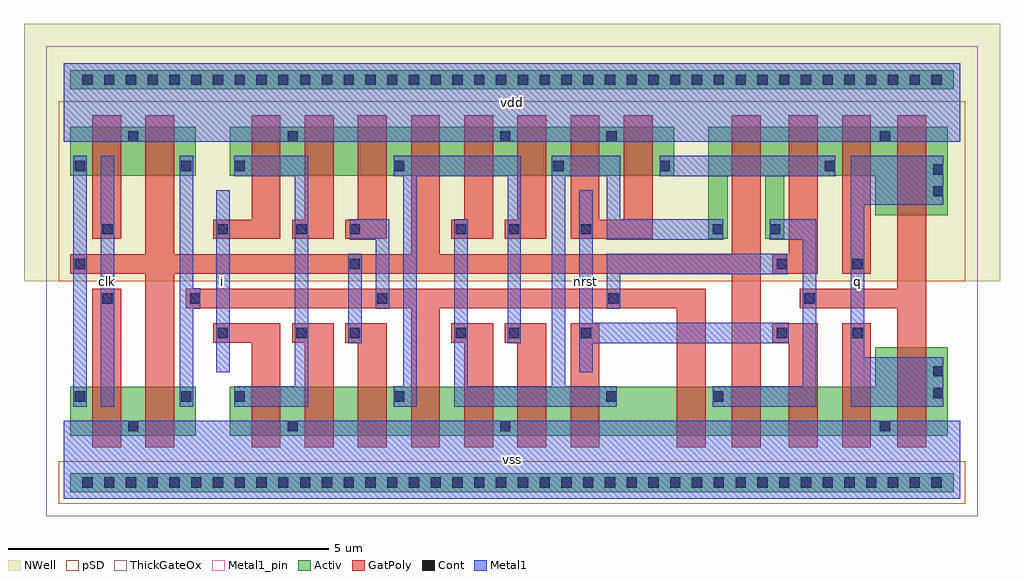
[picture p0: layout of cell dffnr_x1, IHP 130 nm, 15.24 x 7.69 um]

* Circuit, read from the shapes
.subckt dffnr_x1 clk i nrst q vdd vss
XM1 vss clk n1 vss sg13_hv_nmos w=0.76u l=0.45u
XM2 n2 n1 vss vss sg13_hv_nmos w=0.76u l=0.45u
XM3 vss i n3 vss sg13_hv_nmos w=0.76u l=0.45u
XM4 n4 n3 vss vss sg13_hv_nmos w=0.76u l=0.45u
XM5 n5 n1 n4 vss sg13_hv_nmos w=0.76u l=0.45u
XM6 n6 n2 n5 vss sg13_hv_nmos w=0.76u l=0.45u
XM7 vss n7 n6 vss sg13_hv_nmos w=0.76u l=0.45u
XM8 n8 n5 vss vss sg13_hv_nmos w=0.76u l=0.45u
XM9 n7 nrst n8 vss sg13_hv_nmos w=0.76u l=0.45u
XM10 n9 n2 n7 vss sg13_hv_nmos w=0.76u l=0.45u
XM11 n10 n1 n9 vss sg13_hv_nmos w=0.76u l=0.45u
XM12 n11 nrst n10 vss sg13_hv_nmos w=0.76u l=0.45u
XM13 vss q n11 vss sg13_hv_nmos w=0.76u l=0.45u
XM14 q n9 vss vss sg13_hv_nmos w=1.38u l=0.45u
XM15 vdd clk n1 vdd sg13_hv_pmos w=0.76u l=0.45u
XM16 n2 n1 vdd vdd sg13_hv_pmos w=0.76u l=0.45u
XM17 vdd i n3 vdd sg13_hv_pmos w=0.76u l=0.45u
XM18 n12 n3 vdd vdd sg13_hv_pmos w=0.76u l=0.45u
XM19 n5 n2 n12 vdd sg13_hv_pmos w=0.76u l=0.45u
XM20 n13 n1 n5 vdd sg13_hv_pmos w=0.76u l=0.45u
XM21 vdd n7 n13 vdd sg13_hv_pmos w=0.76u l=0.45u
XM22 n7 n5 vdd vdd sg13_hv_pmos w=0.76u l=0.45u
XM23 vdd nrst n7 vdd sg13_hv_pmos w=0.76u l=0.45u
XM24 n14 nrst vdd vdd sg13_hv_pmos w=0.76u l=0.45u
XM25 n9 n1 n7 vdd sg13_hv_pmos w=0.76u l=0.45u
XM26 n14 n2 n9 vdd sg13_hv_pmos w=0.76u l=0.45u
XM27 vdd q n14 vdd sg13_hv_pmos w=0.76u l=0.45u
XM28 q n9 vdd vdd sg13_hv_pmos w=1.38u l=0.45u
.ends

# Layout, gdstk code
import gdstk
lib = gdstk.Library(unit=1e-6, precision=1e-09)
def R(c, l, rs):  # rectangles x0, y0, x1, y1
    for r in rs: c.add(gdstk.rectangle(r[:2], r[2:], *l))
def A(c, l, x, y, w, h, nx, ny, dx, dy):  # array of equal rectangles
    R(c, l, [(x+i*dx, y+j*dy, x+i*dx+w, y+j*dy+h) for i in range(nx) for j in range(ny)])
def P(c, l, *ps):  # polygons
    for p in ps: c.add(gdstk.Polygon(p, *l))
Activ = (1, 0)
GatPoly = (5, 0)
Cont = (6, 0)
Metal1 = (8, 0)
Metal1_pin = (8, 2)
pSD = (14, 0)
NWell = (31, 0)
ThickGateOx = (44, 0)

dffnr_x1 = lib.new_cell('dffnr_x1')
R(dffnr_x1, Activ, [(0.105,0.105,13.895,0.405), (0.105,0.99,2.065,1.75), (0.105,5.05,2.065,5.81), (2.595,5.05,9.535,5.81), (0.105,6.395,13.895,6.695)])
P(dffnr_x1, Activ, [(10.065,4.06),(10.065,5.81),(13.805,5.81),(13.805,4.43),(12.675,4.43),(12.675,5.05),(11.255,5.05),(11.255,4.06),(10.955,4.06),(10.955,5.05),(10.365,5.05),(10.365,4.06)],
  [(2.595,0.99),(2.595,1.75),(12.675,1.75),(12.675,2.37),(13.805,2.37),(13.805,0.99)])
R(dffnr_x1, GatPoly, [(0.445,0.81,0.895,3.28), (7.915,0.81,8.365,2.74), (12.155,0.81,12.605,2.74), (12.155,3.52,12.605,5.99), (0.445,4.06,0.895,5.99)])
P(dffnr_x1, GatPoly, [(1.275,0.81),(1.275,3.52),(0.105,3.52),(0.105,3.82),(1.275,3.82),(1.275,5.99),(1.725,5.99),(1.725,3.82),(5.425,3.82),(5.425,5.99),(5.875,5.99),(5.875,3.82),(10.435,3.82),(10.435,5.99),(10.885,5.99),(10.885,0.81),(10.435,0.81),(10.435,3.52),(1.725,3.52),(1.725,0.81)],
  [(4.595,0.81),(4.595,2.44),(4.395,2.44),(4.395,2.74),(5.045,2.74),(5.045,0.81)],
  [(5.425,0.81),(5.425,2.98),(1.905,2.98),(1.905,3.28),(10.025,3.28),(10.025,0.81),(9.575,0.81),(9.575,2.98),(5.875,2.98),(5.875,0.81)],
  [(11.065,3.52),(11.065,3.82),(11.325,3.82),(11.325,5.99),(11.775,5.99),(11.775,3.52)],
  [(4.395,4.06),(4.395,4.36),(4.595,4.36),(4.595,5.99),(5.045,5.99),(5.045,4.06)],
  [(3.565,4.06),(3.565,4.36),(3.765,4.36),(3.765,5.99),(4.215,5.99),(4.215,4.06)],
  [(3.765,0.81),(3.765,2.44),(3.565,2.44),(3.565,2.74),(4.215,2.74),(4.215,0.81)],
  [(2.335,4.06),(2.335,4.36),(2.935,4.36),(2.935,5.99),(3.385,5.99),(3.385,4.06)],
  [(2.935,0.81),(2.935,2.44),(2.335,2.44),(2.335,2.74),(3.385,2.74),(3.385,0.81)],
  [(6.885,4.06),(6.885,4.36),(7.085,4.36),(7.085,5.99),(7.535,5.99),(7.535,4.06)],
  [(7.085,0.81),(7.085,2.44),(6.885,2.44),(6.885,2.74),(7.535,2.74),(7.535,0.81)],
  [(6.255,0.81),(6.255,2.44),(6.055,2.44),(6.055,2.74),(6.705,2.74),(6.705,0.81)],
  [(6.055,4.06),(6.055,4.36),(6.255,4.36),(6.255,5.99),(6.705,5.99),(6.705,4.06)],
  [(11.325,0.81),(11.325,2.44),(11.065,2.44),(11.065,2.74),(11.775,2.74),(11.775,0.81)],
  [(7.915,4.06),(7.915,5.99),(8.365,5.99),(8.365,4.36),(8.745,4.36),(8.745,5.99),(9.195,5.99),(9.195,4.06)],
  [(13.015,0.81),(13.015,2.98),(11.495,2.98),(11.495,3.28),(13.015,3.28),(13.015,5.99),(13.465,5.99),(13.465,0.81)])
A(dffnr_x1, Cont, 0.29, 0.175, 0.16, 0.16, 40, 2, 0.34, 6.29)
A(dffnr_x1, Cont, 2.665, 5.12, 0.16, 0.16, 3, 1, 2.49, 0)
R(dffnr_x1, Cont, [(1.005,1.06,1.165,1.22), (3.495,1.06,3.655,1.22), (6.815,1.06,6.975,1.22), (12.745,1.06,12.905,1.22), (0.175,1.52,0.335,1.68), (1.835,1.52,1.995,1.68), (2.665,1.52,2.825,1.68), (5.155,1.52,5.315,1.68), (8.475,1.52,8.635,1.68), (10.135,1.52,10.295,1.68), (13.575,1.575,13.735,1.735), (13.575,1.915,13.735,2.075), (2.405,2.51,2.565,2.67), (3.635,2.51,3.795,2.67), (4.465,2.51,4.625,2.67), (6.125,2.51,6.285,2.67), (6.955,2.51,7.115,2.67), (8.075,2.51,8.235,2.67), (11.135,2.51,11.295,2.67), (12.315,2.51,12.475,2.67), (0.605,3.05,0.765,3.21), (1.975,3.05,2.135,3.21), (4.895,3.05,5.055,3.21), (8.505,3.05,8.665,3.21), (11.565,3.05,11.725,3.21), (0.175,3.59,0.335,3.75), (4.465,3.59,4.625,3.75), (11.135,3.59,11.295,3.75), (12.315,3.59,12.475,3.75), (0.605,4.13,0.765,4.29), (2.405,4.13,2.565,4.29), (3.635,4.13,3.795,4.29), (4.465,4.13,4.625,4.29), (6.125,4.13,6.285,4.29), (6.955,4.13,7.115,4.29), (8.075,4.13,8.235,4.29), (10.135,4.13,10.295,4.29), (11.025,4.13,11.185,4.29), (13.575,4.725,13.735,4.885), (13.575,5.065,13.735,5.225), (0.175,5.12,0.335,5.28), (1.835,5.12,1.995,5.28), (9.305,5.12,9.465,5.28), (11.885,5.12,12.045,5.28), (1.005,5.58,1.165,5.74), (3.495,5.58,3.655,5.74), (6.815,5.58,6.975,5.74), (8.475,5.58,8.635,5.74), (12.745,5.58,12.905,5.74)])
R(dffnr_x1, Metal1, [(0,0,14,1.22), (0.15,1.44,0.36,5.36), (0.58,1.44,0.79,5.36), (2.38,1.98,2.59,4.82), (4.44,2.43,4.65,3.83), (9.305,5.04,12.045,5.36), (0,5.58,14,6.8)])
P(dffnr_x1, Metal1, [(8.48,2.97),(8.48,3.83),(11.295,3.83),(11.295,3.51),(8.69,3.51),(8.69,2.97)],
  [(1.81,1.44),(1.81,5.36),(2.02,5.36),(2.02,3.29),(2.135,3.29),(2.135,2.97),(2.02,2.97),(2.02,1.44)],
  [(4.87,2.97),(4.87,4.05),(4.465,4.05),(4.465,4.37),(5.08,4.37),(5.08,2.97)],
  [(2.665,1.44),(2.665,1.76),(3.61,1.76),(3.61,5.04),(2.665,5.04),(2.665,5.36),(3.82,5.36),(3.82,1.44)],
  [(5.155,1.44),(5.155,1.76),(5.3,1.76),(5.3,5.04),(5.155,5.04),(5.155,5.36),(7.14,5.36),(7.14,2.43),(6.93,2.43),(6.93,5.04),(5.51,5.04),(5.51,1.44)],
  [(6.1,1.44),(6.1,4.37),(6.31,4.37),(6.31,1.76),(7.62,1.76),(7.62,5.36),(8.69,5.36),(8.69,4.37),(10.295,4.37),(10.295,4.05),(8.48,4.05),(8.48,5.04),(7.83,5.04),(7.83,1.76),(8.635,1.76),(8.635,1.44)],
  [(8.05,1.98),(8.05,4.82),(8.26,4.82),(8.26,2.75),(11.32,2.75),(11.32,2.43),(8.26,2.43),(8.26,1.98)],
  [(10.135,1.44),(10.135,1.76),(11.54,1.76),(11.54,4.05),(11.025,4.05),(11.025,4.37),(11.75,4.37),(11.75,1.44)],
  [(12.29,1.44),(12.29,5.36),(13.735,5.36),(13.735,4.59),(12.5,4.59),(12.5,2.21),(13.735,2.21),(13.735,1.44)])
R(dffnr_x1, Metal1_pin, [(0,0,14,1.22), (0.58,1.44,0.79,5.36), (12.29,1.44,12.5,5.36), (2.38,1.98,2.59,4.82), (8.05,1.98,8.26,4.82), (0,5.58,14,6.8)])
R(dffnr_x1, pSD, [(-0.075,-0.075,14.075,0.585), (-0.075,3.4,14.075,6.21)])
R(dffnr_x1, NWell, [(-0.62,3.4,14.62,7.42)])
R(dffnr_x1, ThickGateOx, [(-0.27,-0.27,14.27,7.07)])
dffnr_x1.add(gdstk.Label('vdd', (7,6.19), layer=8, texttype=2))
dffnr_x1.add(gdstk.Label('vss', (7,0.61), layer=8, texttype=2))
dffnr_x1.add(gdstk.Label('clk', (0.685,3.4), layer=8, texttype=2))
dffnr_x1.add(gdstk.Label('i', (2.485,3.4), layer=8, texttype=2))
dffnr_x1.add(gdstk.Label('nrst', (8.155,3.4), layer=8, texttype=2))
dffnr_x1.add(gdstk.Label('q', (12.395,3.4), layer=8, texttype=2))

lib.write_gds('dffnr_x1.gds')
